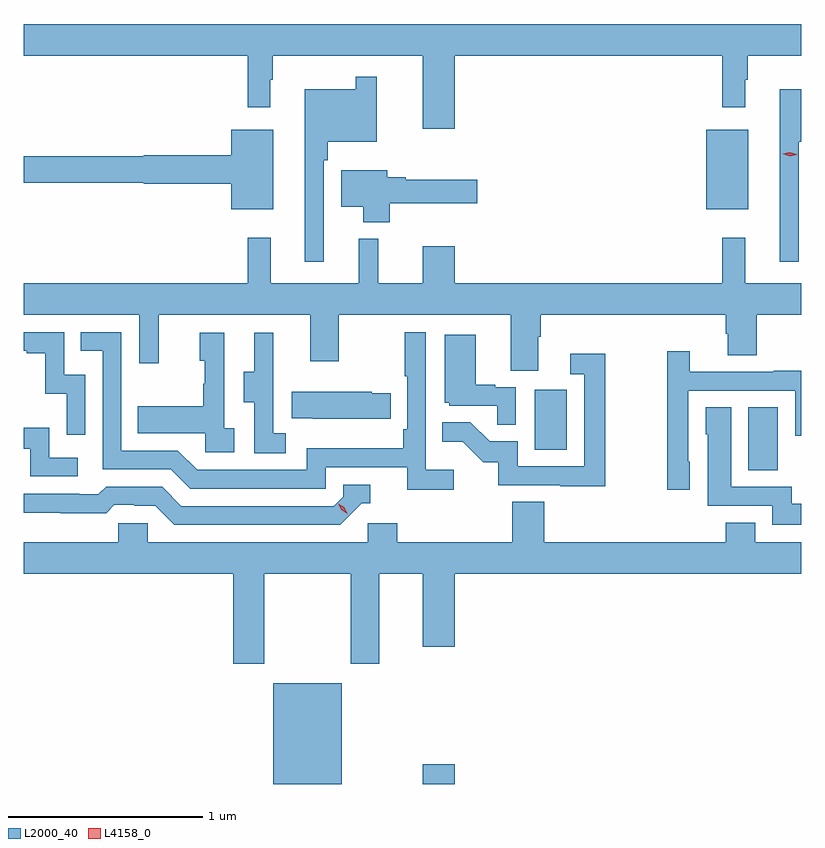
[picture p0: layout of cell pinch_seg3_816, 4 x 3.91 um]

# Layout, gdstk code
import gdstk
lib = gdstk.Library(unit=1e-6, precision=1e-09)
def R(c, l, rs):  # rectangles x0, y0, x1, y1
    for r in rs: c.add(gdstk.rectangle(r[:2], r[2:], *l))
def P(c, l, *ps):  # polygons
    for p in ps: c.add(gdstk.Polygon(p, *l))
L2000_40 = (2000, 40)
L4158_0 = (4158, 0)

pinch_seg3_816 = lib.new_cell('pinch_seg3_816')
R(pinch_seg3_816, L2000_40, [(847.556,723.812,847.906,724.33), (848.324,723.812,848.488,723.913), (849.998,725.425,850.15,725.75), (848.9,725.532,849.064,725.839), (849.782,726.767,849.997,727.177)])
P(pinch_seg3_816, L2000_40, [(848.488,727.556),(849.865,727.556),(849.865,727.293),(849.982,727.293),(849.982,727.433),(849.994,727.433),(849.994,727.556),(850.271,727.556),(850.271,727.72),(846.271,727.72),(846.271,727.556),(847.423,727.556),(847.423,727.293),(847.54,727.293),(847.54,727.433),(847.552,727.433),(847.552,727.556),(848.324,727.556),(848.324,727.182),(848.488,727.182)],
  [(847.815,727.019),(847.835,727.019),(847.835,727.115),(848.088,727.115),(848.088,727.45),(847.98,727.45),(847.98,727.384),(847.718,727.384),(847.718,726.498),(847.815,726.498)],
  [(850.257,727.115),(850.271,727.115),(850.271,727.384),(850.16,727.384),(850.16,726.498),(850.257,726.498)],
  [(847.555,727.177),(847.34,727.177),(847.34,727.046),(846.888,727.046),(846.888,727.04),(846.271,727.04),(846.271,726.904),(846.888,726.904),(846.888,726.899),(847.34,726.899),(847.34,726.767),(847.555,726.767)],
  [(848.153,726.797),(848.605,726.797),(848.605,726.919),(848.236,726.919),(848.236,726.932),(848.14,726.932),(848.14,726.967),(847.904,726.967),(847.904,726.779),(848.018,726.779),(848.018,726.701),(848.153,726.701)],
  [(848.917,726.112),(848.93,726.112),(848.93,726.224),(849.881,726.224),(849.881,726.126),(849.893,726.126),(849.893,726.016),(850.041,726.016),(850.041,726.224),(850.271,726.224),(850.271,726.388),(849.983,726.388),(849.983,726.622),(849.865,726.622),(849.865,726.388),(848.488,726.388),(848.488,726.577),(848.324,726.577),(848.324,726.388),(848.094,726.388),(848.094,726.616),(847.994,726.616),(847.994,726.388),(847.541,726.388),(847.541,726.622),(847.423,726.622),(847.423,726.388),(846.271,726.388),(846.271,726.224),(846.867,726.224),(846.867,725.976),(846.965,725.976),(846.965,726.224),(847.745,726.224),(847.745,725.985),(847.893,725.985),(847.893,726.224),(848.777,726.224),(848.777,725.938),(848.917,725.938)],
  [(848.482,725.428),(848.34,725.428),(848.34,726.136),(848.232,726.136),(848.232,725.908),(848.244,725.908),(848.244,725.635),(848.224,725.635),(848.224,725.539),(847.728,725.539),(847.728,725.427),(847.164,725.427),(847.065,725.526),(846.774,725.526),(846.774,726.135),(846.565,726.135),(846.565,726.039),(846.678,726.039),(846.678,725.43),(847.028,725.43),(847.127,725.331),(847.824,725.331),(847.824,725.442),(848.243,725.442),(848.243,725.326),(848.482,725.326)],
  [(846.588,725.916),(846.48,725.916),(846.48,726.135),(846.271,726.135),(846.271,726.039),(846.287,726.039),(846.287,726.027),(846.383,726.027),(846.383,725.819),(846.492,725.819),(846.492,725.607),(846.588,725.607)],
  [(847.354,725.642),(847.302,725.642),(847.302,726.133),(847.178,726.133),(847.178,725.988),(847.204,725.988),(847.204,725.87),(847.194,725.87),(847.194,725.755),(846.859,725.755),(846.859,725.615),(847.206,725.615),(847.206,725.517),(847.354,725.517)],
  [(847.618,725.615),(847.554,725.615),(847.554,725.919),(847.556,725.919),(847.556,726.133),(847.457,726.133),(847.457,725.931),(847.403,725.931),(847.403,725.776),(847.458,725.776),(847.458,725.512),(847.618,725.512)],
  [(848.802,725.853),(848.696,725.853),(848.696,725.866),(848.596,725.866),(848.596,726.121),(848.438,726.121),(848.438,725.772),(848.46,725.772),(848.46,725.757),(848.707,725.757),(848.707,725.659),(848.802,725.659)],
  [(849.697,725.469),(849.69,725.469),(849.69,725.835),(850.239,725.835),(850.239,725.604),(850.271,725.604),(850.271,725.936),(850.129,725.936),(850.129,725.931),(849.697,725.931),(849.697,726.037),(849.582,726.037),(849.582,725.325),(849.697,725.325)],
  [(849.262,726.025),(849.081,726.025),(849.081,725.919),(849.153,725.919),(849.153,725.445),(848.811,725.445),(848.811,725.574),(848.667,725.574),(848.569,725.672),(848.425,725.672),(848.425,725.573),(848.529,725.573),(848.636,725.466),(848.713,725.466),(848.713,725.349),(849.031,725.349),(849.031,725.344),(849.262,725.344)],
  [(848.159,725.82),(848.061,725.82),(848.061,725.83),(847.651,725.83),(847.651,725.693),(847.759,725.693),(847.759,725.69),(848.159,725.69)],
  [(850.271,725.254),(850.221,725.254),(850.221,725.34),(849.91,725.34),(849.91,725.75),(849.779,725.75),(849.779,725.61),(849.788,725.61),(849.788,725.244),(850.122,725.244),(850.122,725.145),(850.271,725.145)],
  [(846.55,725.49),(846.402,725.49),(846.402,725.644),(846.271,725.644),(846.271,725.535),(846.306,725.535),(846.306,725.394),(846.55,725.394)],
  [(848.01,725.256),(848.053,725.256),(848.053,725.352),(847.914,725.352),(847.914,725.289),(847.866,725.241),(847.083,725.241),(846.984,725.34),(846.695,725.34),(846.656,725.301),(846.557,725.301),(846.557,725.304),(846.271,725.304),(846.271,725.207),(846.462,725.207),(846.462,725.205),(846.695,725.205),(846.737,725.247),(846.84,725.247),(846.84,725.244),(846.947,725.244),(847.046,725.145),(847.899,725.145)],
  [(847.509,724.892),(847.954,724.892),(847.954,724.431),(848.101,724.431),(848.101,724.892),(848.324,724.892),(848.324,724.518),(848.488,724.518),(848.488,724.892),(850.271,724.892),(850.271,725.056),(850.033,725.056),(850.033,725.155),(849.881,725.155),(849.881,725.056),(848.948,725.056),(848.948,725.264),(848.783,725.264),(848.783,725.056),(848.192,725.056),(848.192,725.154),(848.04,725.154),(848.04,725.056),(846.909,725.056),(846.909,725.154),(846.759,725.154),(846.759,725.056),(846.271,725.056),(846.271,724.892),(847.349,724.892),(847.349,724.431),(847.509,724.431)])
P(pinch_seg3_816, L4158_0, [(847.936,725.202),(847.905,725.221),(847.889,725.254),(847.889,725.254),(847.89,725.254),(847.92,725.235),(847.936,725.202),(847.936,725.202)],
  [(850.211,727.041),(850.176,727.052),(850.176,727.053),(850.176,727.053),(850.212,727.061),(850.247,727.049),(850.247,727.049),(850.247,727.048)])

lib.write_gds('pinch_seg3_816.gds')
